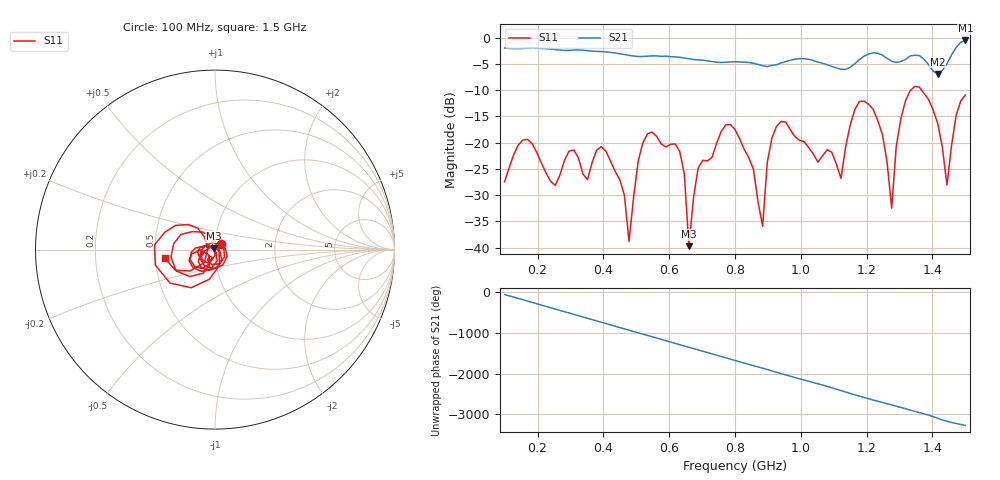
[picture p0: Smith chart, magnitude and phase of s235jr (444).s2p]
! NanoVNA-App
! Date: 2025-09-25 15:07:37
! Start: 100MHz Stop: 1,5GHz Points: 101
! S-Parameter data: F S11 S21 S12 S22
# Hz S RI R 50
!  Frequency  S11_Real  S11_Imag  S21_Real  S21_Imag  S12_Real  S12_Imag  S22_Real  S22_Imag
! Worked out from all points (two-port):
!   101 points, 100 MHz to 1.5 GHz, reference 50 ohm
!   highest |S21| = -0.52 dB at 1.5 GHz (marker M1); lowest = -6.9 dB at 1.416 GHz (marker M2)
!   |S21| within 3 dB of the highest: start of sweep to 496.8 MHz; 1.192 GHz to 1.253 GHz (60.64 MHz wide, 4.96 % of centre) (the widest 2 of 6)
!   lowest |S11| = -39.7 dB at 660 MHz (marker M3), VSWR 1.02, Z = 49.2 + j0.626 ohm
!   |S11| at or under -10 dB: start of sweep to 1.334 GHz; 1.367 GHz to end of sweep
!   S12 and S22 are empty: the file has one direction only
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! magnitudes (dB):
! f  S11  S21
! 100 MHz  -27.5  -2.0
! 170 MHz  -19.4  -2.0
! 338 MHz  -26.0  -2.4
! 408 MHz  -21.7  -2.7
! 478 MHz  -38.9  -3.4
! 520 MHz  -20.1  -3.6
! 576 MHz  -20.3  -3.6
! 632 MHz  -21.7  -3.7
! 660 MHz  -39.7  -4.0
! 688 MHz  -24.9  -4.2
! 800 MHz  -17.5  -4.6
! 884 MHz  -35.9  -5.3
! 926 MHz  -16.9  -5.2
! 1.038 GHz  -22.2  -4.3
! 1.122 GHz  -26.8  -6.0
! 1.206 GHz  -12.7  -3.1
! 1.276 GHz  -32.5  -4.5
! 1.29 GHz  -20.7  -4.7
! 1.332 GHz  -10.1  -3.5
! 1.416 GHz  -16.3  -6.9
! 1.444 GHz  -28.1  -5.0
! 1.5 GHz  -10.9  -0.5
